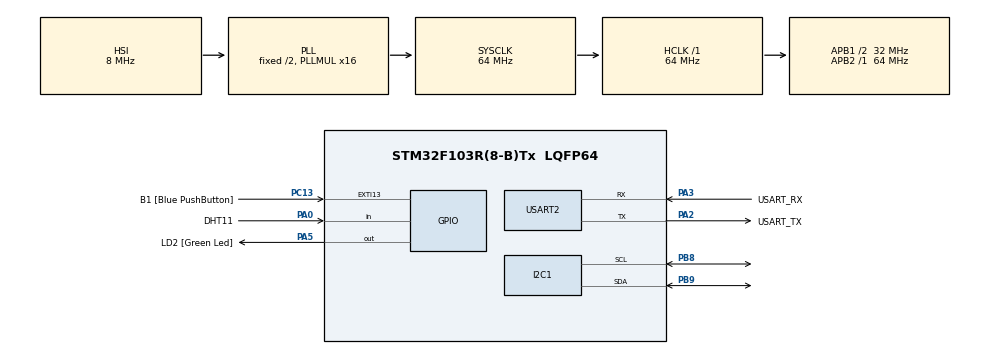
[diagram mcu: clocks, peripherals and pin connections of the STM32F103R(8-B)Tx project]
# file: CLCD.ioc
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Mcu.Family=STM32F1
Mcu.Name=STM32F103R(8-B)Tx
Mcu.Package=LQFP64
NVIC.EXTI15_10_IRQn=true\:0\:0\:false\:false\:true\:true\:true\:true
NVIC.PriorityGroup=NVIC_PRIORITYGROUP_4
PA0-WKUP.GPIO_Label=DHT11
PA0-WKUP.Signal=GPIO_Input
PA13.GPIO_Label=TMS
PA13.Mode=Serial_Wire
PA13.Signal=SYS_JTMS-SWDIO
PA14.GPIO_Label=TCK
PA14.Mode=Serial_Wire
PA14.Signal=SYS_JTCK-SWCLK
PA2.GPIO_Label=USART_TX
PA2.GPIO_Mode=GPIO_MODE_AF_PP
PA2.GPIO_PuPd=GPIO_NOPULL
PA2.GPIO_Speed=GPIO_SPEED_FREQ_LOW
PA2.Mode=Asynchronous
PA2.Signal=USART2_TX
PA3.GPIO_Label=USART_RX
PA3.GPIO_Mode=GPIO_MODE_AF_PP
PA3.GPIO_PuPd=GPIO_NOPULL
PA3.GPIO_Speed=GPIO_SPEED_FREQ_LOW
PA3.Mode=Asynchronous
PA3.Signal=USART2_RX
PA5.GPIO_Label=LD2 [Green Led]
PA5.GPIO_ModeDefaultOutputPP=GPIO_MODE_OUTPUT_PP
PA5.GPIO_PuPd=GPIO_NOPULL
PA5.GPIO_Speed=GPIO_SPEED_FREQ_LOW
PA5.Signal=GPIO_Output
PB3.GPIO_Label=SWO
PB3.Signal=SYS_JTDO-TRACESWO
PB8.Mode=I2C
PB8.Signal=I2C1_SCL
PB9.Mode=I2C
PB9.Signal=I2C1_SDA
PC13-TAMPER-RTC.GPIO_Label=B1 [Blue PushButton]
PC13-TAMPER-RTC.GPIO_PuPd=GPIO_NOPULL
PC13-TAMPER-RTC.Signal=GPXTI13
PC14-OSC32_IN.Signal=RCC_OSC32_IN
PC15-OSC32_OUT.Signal=RCC_OSC32_OUT
PD0-OSC_IN.Signal=RCC_OSC_IN
PD1-OSC_OUT.Signal=RCC_OSC_OUT
ProjectManager.HeapSize=0x200
ProjectManager.StackSize=0x400
ProjectManager.TargetToolchain=STM32CubeIDE
RCC.AHBFreq_Value=64000000
RCC.APB1CLKDivider=RCC_HCLK_DIV2
RCC.APB1Freq_Value=32000000
RCC.APB1TimFreq_Value=64000000
RCC.APB2Freq_Value=64000000
RCC.APB2TimFreq_Value=64000000
RCC.HCLKFreq_Value=64000000
RCC.PLLMUL=RCC_PLL_MUL16
RCC.RTCClockSelection=RCC_RTCCLKSOURCE_LSE
RCC.SYSCLKFreq_VALUE=64000000
RCC.SYSCLKSource=RCC_SYSCLKSOURCE_PLLCLK
RCC.USBFreq_Value=64000000
TIM2.Prescaler=64-1
USART2.VirtualMode=VM_ASYNC
VP_TIM2_VS_ClockSourceINT.Mode=Internal
board=NUCLEO-F103RB

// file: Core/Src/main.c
/* USER CODE BEGIN Header */
/**
  ******************************************************************************
  * @file           : main.c
  * @brief          : Main program body
  ******************************************************************************
  * @attention
  *
  * Copyright (c) 2025 STMicroelectronics.
  * All rights reserved.
  *
  * This software is licensed under terms that can be found in the LICENSE file
  * in the root directory of this software component.
  * If no LICENSE file comes with this software, it is provided AS-IS.
  *
  ******************************************************************************
  */
/* USER CODE END Header */
#include "main.h"

/* USER CODE BEGIN Includes */
#include <stdio.h>
#include <string.h>
#include "I2C.h"
#include "DHT11.h"
/* USER CODE END Includes */

I2C_HandleTypeDef hi2c1;

TIM_HandleTypeDef htim2;

UART_HandleTypeDef huart2;

/* USER CODE BEGIN PV */
DHT11_Data dht11_data;
char buff[100];
char temp[100];
char hum[100];
/* USER CODE END PV */

void SystemClock_Config(void);
static void MX_GPIO_Init(void);
static void MX_USART2_UART_Init(void);
static void MX_I2C1_Init(void);
static void MX_TIM2_Init(void);
/* USER CODE BEGIN PFP */
void DHT11_SetPinOutput(void);
void DHT11_SetPinInput(void);
void DHT11_SetPin(GPIO_PinState state);
GPIO_PinState DHT11_ReadPin(void);
void DHT11_DelayUs(uint32_t us);
uint8_t DHT11_Start(void);
uint8_t DHT11_ReadBit(void);
uint8_t DHT11_ReadByte(void);
uint8_t DHT11_ReadData(DHT11_Data *data);
/* USER CODE END PFP */

/* USER CODE BEGIN 0 */
#ifdef __GNUC__
/* With GCC, small printf (option LD Linker->Libraries->Small printf
   set to 'Yes') calls __io_putchar() */
#define PUTCHAR_PROTOTYPE int __io_putchar(int ch)
#else
#define PUTCHAR_PROTOTYPE int fputc(int ch, FILE *f)
#endif /* __GNUC__ */

/**
  * @brief  Retargets the C library printf function to the USART.
  * @param  None
  * @retval None
  */
PUTCHAR_PROTOTYPE
{
  /* Place your implementation of fputc here */
  /* e.g. write a character to the USART1 and Loop until the end of transmission */
  if (ch == '\n')
    HAL_UART_Transmit (&huart2, (uint8_t*) "\r", 1, 0xFFFF);
  	HAL_UART_Transmit (&huart2, (uint8_t*) &ch, 1, 0xFFFF);

  return ch;
}

/* USER CODE END 0 */

int main(void)
{

  /* MCU Configuration--------------------------------------------------------*/

  /* Reset of all peripherals, Initializes the Flash interface and the Systick. */
  HAL_Init();

  /* Configure the system clock */
  SystemClock_Config();

  /* Initialize all configured peripherals */
  MX_GPIO_Init();
  MX_USART2_UART_Init();
  MX_I2C1_Init();
  MX_TIM2_Init();
  /* USER CODE BEGIN 2 */
  HAL_TIM_Base_Start(&htim2);

  I2C_ScanAddresses();

  LCD_INIT();
  LCD_XY(0, 0) ; LCD_PUTS((char *)"DHT11 Temperature &");
  LCD_XY(0, 1) ; LCD_PUTS((char *)"Humidity Sensor Test");
  HAL_Delay(1000);
  HAL_UART_Transmit(&huart2, (uint8_t*)buff, strlen(buff), HAL_MAX_DELAY);
  /* USER CODE END 2 */

  /* Infinite loop */
  while (1)
  {

    /* USER CODE BEGIN 3 */
	    if (DHT11_ReadData(&dht11_data)) {
	      // 데이터 읽기 성공
	      LCD_XY(0, 0) ; LCD_CLEAR();
	      LCD_XY(0, 1) ; LCD_CLEAR();
	      sprintf(temp, "Temperature:%dC", dht11_data.temperature);
	      sprintf(hum, "Humidity:%d%%", dht11_data.humidity);
	      LCD_XY(0, 0) ; LCD_PUTS((char *) temp);
	      LCD_XY(0, 1) ; LCD_PUTS((char *) hum);
	      HAL_UART_Transmit(&huart2, (uint8_t*)buff, strlen(buff), HAL_MAX_DELAY);
	    } else {
	      // 데이터 읽기 실패
	      sprintf(buff, "DHT11 Read Error!\r\n");
	      LCD_XY(0, 0) ; LCD_PUTS((char *)"DHT11 Read Error!\r\n");
	      HAL_UART_Transmit(&huart2, (uint8_t*)buff, strlen(buff), HAL_MAX_DELAY);
	    }
	    // 2초 대기 (DHT11은 최소 2초 간격으로 읽어야 함)
	    HAL_Delay(500);
  }
  /* USER CODE END 3 */
}

void SystemClock_Config(void)
{
  RCC_OscInitTypeDef RCC_OscInitStruct = {0};
  RCC_ClkInitTypeDef RCC_ClkInitStruct = {0};

  /** Initializes the RCC Oscillators according to the specified parameters
  * in the RCC_OscInitTypeDef structure.
  */
  RCC_OscInitStruct.OscillatorType = RCC_OSCILLATORTYPE_HSI;
  RCC_OscInitStruct.HSIState = RCC_HSI_ON;
  RCC_OscInitStruct.HSICalibrationValue = RCC_HSICALIBRATION_DEFAULT;
  RCC_OscInitStruct.PLL.PLLState = RCC_PLL_ON;
  RCC_OscInitStruct.PLL.PLLSource = RCC_PLLSOURCE_HSI_DIV2;
  RCC_OscInitStruct.PLL.PLLMUL = RCC_PLL_MUL16;
  if (HAL_RCC_OscConfig(&RCC_OscInitStruct) != HAL_OK)
  {
    Error_Handler();
  }

  /** Initializes the CPU, AHB and APB buses clocks
  */
  RCC_ClkInitStruct.ClockType = RCC_CLOCKTYPE_HCLK|RCC_CLOCKTYPE_SYSCLK
                              |RCC_CLOCKTYPE_PCLK1|RCC_CLOCKTYPE_PCLK2;
  RCC_ClkInitStruct.SYSCLKSource = RCC_SYSCLKSOURCE_PLLCLK;
  RCC_ClkInitStruct.AHBCLKDivider = RCC_SYSCLK_DIV1;
  RCC_ClkInitStruct.APB1CLKDivider = RCC_HCLK_DIV2;
  RCC_ClkInitStruct.APB2CLKDivider = RCC_HCLK_DIV1;

  if (HAL_RCC_ClockConfig(&RCC_ClkInitStruct, FLASH_LATENCY_2) != HAL_OK)
  {
    Error_Handler();
  }
}

static void MX_I2C1_Init(void)
{

  hi2c1.Instance = I2C1;
  hi2c1.Init.ClockSpeed = 100000;
  hi2c1.Init.DutyCycle = I2C_DUTYCYCLE_2;
  hi2c1.Init.OwnAddress1 = 0;
  hi2c1.Init.AddressingMode = I2C_ADDRESSINGMODE_7BIT;
  hi2c1.Init.DualAddressMode = I2C_DUALADDRESS_DISABLE;
  hi2c1.Init.OwnAddress2 = 0;
  hi2c1.Init.GeneralCallMode = I2C_GENERALCALL_DISABLE;
  hi2c1.Init.NoStretchMode = I2C_NOSTRETCH_DISABLE;
  if (HAL_I2C_Init(&hi2c1) != HAL_OK)
  {
    Error_Handler();
  }

}

static void MX_TIM2_Init(void)
{

  TIM_ClockConfigTypeDef sClockSourceConfig = {0};
  TIM_MasterConfigTypeDef sMasterConfig = {0};

  htim2.Instance = TIM2;
  htim2.Init.Prescaler = 64-1;
  htim2.Init.CounterMode = TIM_COUNTERMODE_UP;
  htim2.Init.Period = 65535;
  htim2.Init.ClockDivision = TIM_CLOCKDIVISION_DIV1;
  htim2.Init.AutoReloadPreload = TIM_AUTORELOAD_PRELOAD_DISABLE;
  if (HAL_TIM_Base_Init(&htim2) != HAL_OK)
  {
    Error_Handler();
  }
  sClockSourceConfig.ClockSource = TIM_CLOCKSOURCE_INTERNAL;
  if (HAL_TIM_ConfigClockSource(&htim2, &sClockSourceConfig) != HAL_OK)
  {
    Error_Handler();
  }
  sMasterConfig.MasterOutputTrigger = TIM_TRGO_RESET;
  sMasterConfig.MasterSlaveMode = TIM_MASTERSLAVEMODE_DISABLE;
  if (HAL_TIMEx_MasterConfigSynchronization(&htim2, &sMasterConfig) != HAL_OK)
  {
    Error_Handler();
  }

}

static void MX_USART2_UART_Init(void)
{

  huart2.Instance = USART2;
  huart2.Init.BaudRate = 115200;
  huart2.Init.WordLength = UART_WORDLENGTH_8B;
  huart2.Init.StopBits = UART_STOPBITS_1;
  huart2.Init.Parity = UART_PARITY_NONE;
  huart2.Init.Mode = UART_MODE_TX_RX;
  huart2.Init.HwFlowCtl = UART_HWCONTROL_NONE;
  huart2.Init.OverSampling = UART_OVERSAMPLING_16;
  if (HAL_UART_Init(&huart2) != HAL_OK)
  {
    Error_Handler();
  }

}

static void MX_GPIO_Init(void)
{
  GPIO_InitTypeDef GPIO_InitStruct = {0};

  /* GPIO Ports Clock Enable */
  __HAL_RCC_GPIOC_CLK_ENABLE();
  __HAL_RCC_GPIOD_CLK_ENABLE();
  __HAL_RCC_GPIOA_CLK_ENABLE();
  __HAL_RCC_GPIOB_CLK_ENABLE();

  /*Configure GPIO pin Output Level */
  HAL_GPIO_WritePin(LD2_GPIO_Port, LD2_Pin, GPIO_PIN_RESET);

  /*Configure GPIO pin : B1_Pin */
  GPIO_InitStruct.Pin = B1_Pin;
  GPIO_InitStruct.Mode = GPIO_MODE_IT_RISING;
  GPIO_InitStruct.Pull = GPIO_NOPULL;
  HAL_GPIO_Init(B1_GPIO_Port, &GPIO_InitStruct);

  /*Configure GPIO pin : DHT11_Pin */
  GPIO_InitStruct.Pin = DHT11_Pin;
  GPIO_InitStruct.Mode = GPIO_MODE_INPUT;
  GPIO_InitStruct.Pull = GPIO_NOPULL;
  HAL_GPIO_Init(DHT11_GPIO_Port, &GPIO_InitStruct);

  /*Configure GPIO pin : LD2_Pin */
  GPIO_InitStruct.Pin = LD2_Pin;
  GPIO_InitStruct.Mode = GPIO_MODE_OUTPUT_PP;
  GPIO_InitStruct.Pull = GPIO_NOPULL;
  GPIO_InitStruct.Speed = GPIO_SPEED_FREQ_LOW;
  HAL_GPIO_Init(LD2_GPIO_Port, &GPIO_InitStruct);

  /* EXTI interrupt init*/
  HAL_NVIC_SetPriority(EXTI15_10_IRQn, 0, 0);
  HAL_NVIC_EnableIRQ(EXTI15_10_IRQn);

}

void Error_Handler(void)
{
  __disable_irq();
  while (1)
  {
  }
}
